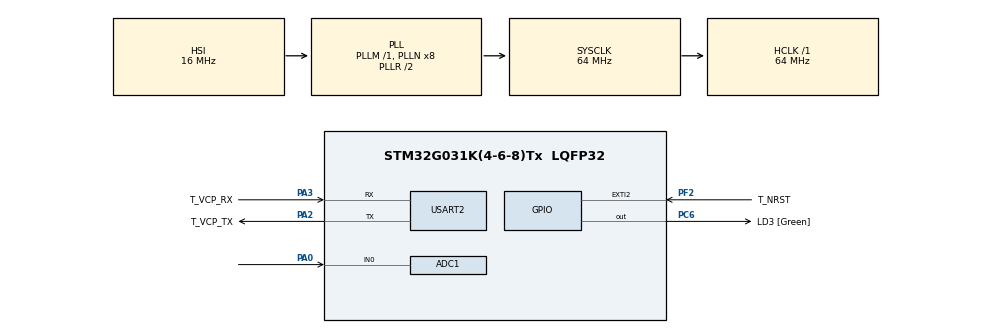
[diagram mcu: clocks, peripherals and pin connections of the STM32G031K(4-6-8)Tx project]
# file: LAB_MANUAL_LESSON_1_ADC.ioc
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ADC1.Channel-0\#ChannelRegularConversion=ADC_CHANNEL_0
ADC1.Channel-1\#ChannelRegularConversion=ADC_CHANNEL_VREFINT
ADC1.ClockPrescaler=ADC_CLOCK_SYNC_PCLK_DIV2
ADC1.ContinuousConvMode=ENABLE
ADC1.NbrOfConversion=2
ADC1.NbrOfConversionFlag=1
ADC1.Rank-0\#ChannelRegularConversion=1
ADC1.Rank-1\#ChannelRegularConversion=2
ADC1.SamplingTime-0\#ChannelRegularConversion=ADC_SAMPLINGTIME_COMMON_1
ADC1.SamplingTime-1\#ChannelRegularConversion=ADC_SAMPLINGTIME_COMMON_1
ADC1.SamplingTimeCommon1=ADC_SAMPLETIME_39CYCLES_5
ADC1.SamplingTimeCommon2=ADC_SAMPLETIME_39CYCLES_5
ADC1.master=1
Mcu.Family=STM32G0
Mcu.Name=STM32G031K(4-6-8)Tx
Mcu.Package=LQFP32
PA0.Mode=IN0
PA0.Signal=ADC1_IN0
PA13.GPIO_Label=T_JTMS
PA13.Mode=Serial_Wire
PA13.Signal=SYS_SWDIO
PA14-BOOT0.GPIO_Label=T_JTCK
PA14-BOOT0.Mode=Serial_Wire
PA14-BOOT0.Signal=SYS_SWCLK
PA2.GPIO_Label=T_VCP_TX
PA2.Mode=Asynchronous
PA2.Signal=USART2_TX
PA3.GPIO_Label=T_VCP_RX
PA3.Mode=Asynchronous
PA3.Signal=USART2_RX
PC14-OSC32_IN\ (PC14).Mode=LSE-External-Oscillator
PC14-OSC32_IN\ (PC14).Signal=RCC_OSC32_IN
PC15-OSC32_OUT\ (PC15).Mode=LSE-External-Oscillator
PC15-OSC32_OUT\ (PC15).Signal=RCC_OSC32_OUT
PC6.GPIO_Label=LD3 [Green]
PC6.Signal=GPIO_Output
PF2\ -\ NRST.GPIO_Label=T_NRST
PF2\ -\ NRST.Signal=GPXTI2
ProjectManager.HeapSize=0x200
ProjectManager.StackSize=0x400
ProjectManager.TargetToolchain=MDK-ARM V5
RCC.ADCFreq_Value=64000000
RCC.AHBFreq_Value=64000000
RCC.CortexFreq_Value=64000000
RCC.EXTERNAL_CLOCK_VALUE=12288000
RCC.HCLKFreq_Value=64000000
RCC.HSE_VALUE=8000000
RCC.HSI_VALUE=16000000
RCC.SYSCLKFreq_VALUE=64000000
RCC.SYSCLKSource=RCC_SYSCLKSOURCE_PLLCLK
RCC.VCOOutputFreq_Value=128000000
USART2.VirtualMode-Asynchronous=VM_ASYNC
USART2.WordLength=WORDLENGTH_8B
VP_ADC1_Vref_Input.Mode=IN-Vrefint
board=NUCLEO-G031K8

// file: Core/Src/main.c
/* USER CODE BEGIN Header */
/**
  ******************************************************************************
  * @file           : main.c
  * @brief          : Main program body
  ******************************************************************************
  * @attention
  *
  * <h2><center>&copy; Copyright (c) 2019 STMicroelectronics.
  * All rights reserved.</center></h2>
  *
  * This software component is licensed by ST under BSD 3-Clause license,
  * the "License"; You may not use this file except in compliance with the
  * License. You may obtain a copy of the License at:
  *                        opensource.org/licenses/BSD-3-Clause
  *
  ******************************************************************************
  */
/* USER CODE END Header */

#include "main.h"
#include "adc.h"
#include "usart.h"
#include "gpio.h"

__IO   uint16_t VREFINT_CAL;

typedef struct
{
	uint16_t m_uADCxConvertedData[2];
	float m_fVref_Vdda;
	float m_fAdcInValue;
}g_AdcTypeDef;

g_AdcTypeDef  g_Adcstr;
extern ADC_HandleTypeDef hadc1;
void SystemClock_Config(void);
void System_On_test(void);
int main(void)
{
  /* Reset of all peripherals, Initializes the Flash interface and the Systick. */
  HAL_Init();
  /* Configure the system clock */
  SystemClock_Config();
  /* Initialize all configured peripherals */
  MX_GPIO_Init();
  MX_USART2_UART_Init();
  MX_ADC1_Init();
  /* USER CODE BEGIN 2 */
  System_On_test();
	PRINTF("This is Test\r\n");

	//*************ADC 校准函数*****************//
	if(HAL_ADCEx_Calibration_Start(&hadc1)!=HAL_OK)
	{
	  Error_Handler();//error
	}

	//****查询VREFINT CAL 参考Datasheet 3.14.2*******//
  VREFINT_CAL = *(__IO uint16_t *)(0x1FFF75AA);
  /* USER CODE END 2 */

  /* Infinite loop */
  while (1)
  {

    /* USER CODE BEGIN 3 */
		PRINTF("/**********************************/\r\n");
		//******************ADC IN0 PA0********************//
		HAL_ADC_Start(&hadc1);//注意，每个通道都要触发Start
		HAL_ADC_PollForConversion(&hadc1,50);//while(__HAL_ADC_GET_FLAG(&hadc1,ADC_FLAG_EOC) == RESET);
		g_Adcstr.m_uADCxConvertedData[0] = HAL_ADC_GetValue(&hadc1);

		//******************ADC IN17 Vref********************//
		HAL_ADC_Start(&hadc1);
		HAL_ADC_PollForConversion(&hadc1,50);
		g_Adcstr.m_uADCxConvertedData[1] = HAL_ADC_GetValue(&hadc1);
		PRINTF("AD[0] value LSB:%d,%d\r\n",g_Adcstr.m_uADCxConvertedData[0],g_Adcstr.m_uADCxConvertedData[1]);

		HAL_ADC_Stop(&hadc1);

		//**************VDDA 结果计算 参考 RM0444 ->14.9******//
		g_Adcstr.m_fVref_Vdda = 3.0 * VREFINT_CAL/g_Adcstr.m_uADCxConvertedData[1];
		PRINTF("Vdda Value : %1.3f\r\n",g_Adcstr.m_fVref_Vdda);

		//**************ADC IN0  结果计算 参考 RM0444 ->14.9******//
	  g_Adcstr.m_fAdcInValue = (3.0*VREFINT_CAL*g_Adcstr.m_uADCxConvertedData[0])/(g_Adcstr.m_uADCxConvertedData[1]*4095);
		//g_Adcstr.m_fAdcInValue =g_Adcstr.m_fVref_Vdda*g_Adcstr.m_uADCxConvertedData[0]/4095;
		PRINTF("Adc_In0 Value : %1.3f\r\n",g_Adcstr.m_fAdcInValue);
    HAL_Delay(1000);
  }
  /* USER CODE END 3 */
}

void SystemClock_Config(void)
{
  RCC_OscInitTypeDef RCC_OscInitStruct = {0};
  RCC_ClkInitTypeDef RCC_ClkInitStruct = {0};
  RCC_PeriphCLKInitTypeDef PeriphClkInit = {0};

  /** Configure the main internal regulator output voltage
  */
  HAL_PWREx_ControlVoltageScaling(PWR_REGULATOR_VOLTAGE_SCALE1);
  /** Initializes the CPU, AHB and APB busses clocks
  */
  RCC_OscInitStruct.OscillatorType = RCC_OSCILLATORTYPE_HSI;
  RCC_OscInitStruct.HSIState = RCC_HSI_ON;
  RCC_OscInitStruct.HSIDiv = RCC_HSI_DIV1;
  RCC_OscInitStruct.HSICalibrationValue = RCC_HSICALIBRATION_DEFAULT;
  RCC_OscInitStruct.PLL.PLLState = RCC_PLL_ON;
  RCC_OscInitStruct.PLL.PLLSource = RCC_PLLSOURCE_HSI;
  RCC_OscInitStruct.PLL.PLLM = RCC_PLLM_DIV1;
  RCC_OscInitStruct.PLL.PLLN = 8;
  RCC_OscInitStruct.PLL.PLLP = RCC_PLLP_DIV2;
  RCC_OscInitStruct.PLL.PLLQ = RCC_PLLQ_DIV2;
  RCC_OscInitStruct.PLL.PLLR = RCC_PLLR_DIV2;
  if (HAL_RCC_OscConfig(&RCC_OscInitStruct) != HAL_OK)
  {
    Error_Handler();
  }
  /** Initializes the CPU, AHB and APB busses clocks
  */
  RCC_ClkInitStruct.ClockType = RCC_CLOCKTYPE_HCLK|RCC_CLOCKTYPE_SYSCLK
                              |RCC_CLOCKTYPE_PCLK1;
  RCC_ClkInitStruct.SYSCLKSource = RCC_SYSCLKSOURCE_PLLCLK;
  RCC_ClkInitStruct.AHBCLKDivider = RCC_SYSCLK_DIV1;
  RCC_ClkInitStruct.APB1CLKDivider = RCC_HCLK_DIV1;

  if (HAL_RCC_ClockConfig(&RCC_ClkInitStruct, FLASH_LATENCY_2) != HAL_OK)
  {
    Error_Handler();
  }
  /** Initializes the peripherals clocks
  */
  PeriphClkInit.PeriphClockSelection = RCC_PERIPHCLK_ADC;
  PeriphClkInit.AdcClockSelection = RCC_ADCCLKSOURCE_SYSCLK;
  if (HAL_RCCEx_PeriphCLKConfig(&PeriphClkInit) != HAL_OK)
  {
    Error_Handler();
  }
}

/* USER CODE BEGIN 4 */
void System_On_test(void)
{
	for(uint8_t i = 0;i < 3;i++)
	{
		 HAL_GPIO_WritePin(LD3_GPIO_Port, LD3_Pin, GPIO_PIN_RESET);
		 HAL_Delay(1000);
		 HAL_GPIO_WritePin(LD3_GPIO_Port, LD3_Pin, GPIO_PIN_SET);
		 HAL_Delay(1000);
	}

}
/* USER CODE END 4 */

void Error_Handler(void)
{
  /* USER CODE BEGIN Error_Handler_Debug */
  /* User can add his own implementation to report the HAL error return state */
	while(1);
  /* USER CODE END Error_Handler_Debug */
}

/************************ (C) COPYRIGHT STMicroelectronics *****END OF FILE****/
